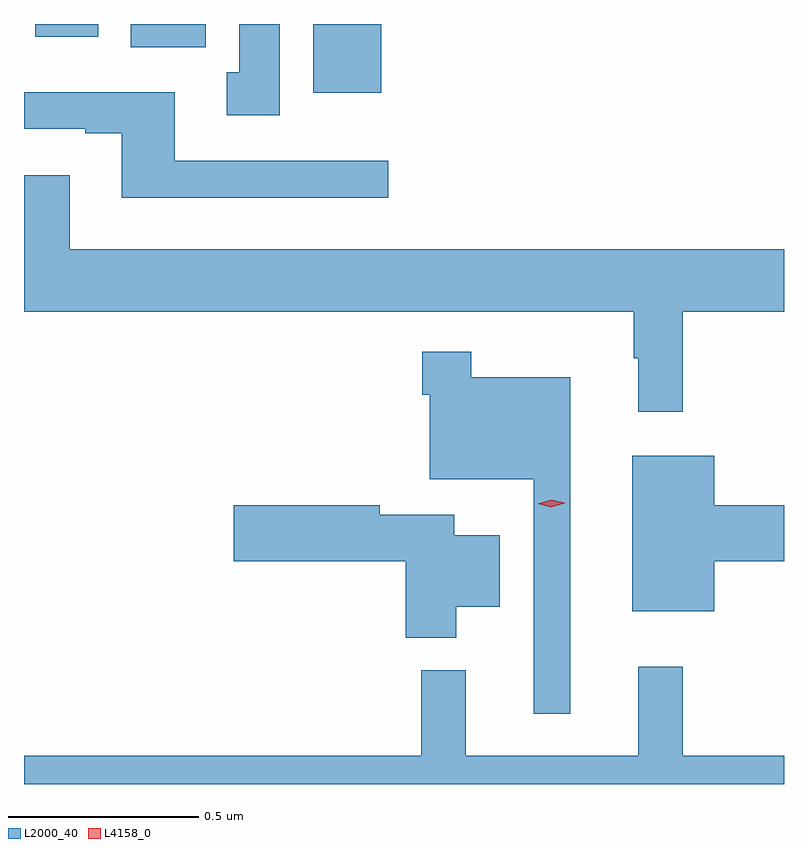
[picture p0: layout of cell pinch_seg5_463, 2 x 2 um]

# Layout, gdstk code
import gdstk
lib = gdstk.Library(unit=1e-6, precision=1e-09)
def R(c, l, rs):  # rectangles x0, y0, x1, y1
    for r in rs: c.add(gdstk.rectangle(r[:2], r[2:], *l))
def P(c, l, *ps):  # polygons
    for p in ps: c.add(gdstk.Polygon(p, *l))
L2000_40 = (2000, 40)
L4158_0 = (4158, 0)

pinch_seg5_463 = lib.new_cell('pinch_seg5_463')
R(pinch_seg5_463, L2000_40, [(923.009,858.668,923.188,858.849), (922.529,858.788,922.726,858.849), (922.277,858.816,922.444,858.849)])
P(pinch_seg5_463, L2000_40, [(922.921,858.849),(922.814,858.849),(922.814,858.722),(922.781,858.722),(922.781,858.609),(922.921,858.609)],
  [(923.206,858.489),(922.645,858.489),(922.645,858.67),(922.248,858.67),(922.248,858.573),(922.409,858.573),(922.409,858.561),(922.505,858.561),(922.505,858.392),(923.206,858.392)],
  [(923.981,858.092),(924.248,858.092),(924.248,858.256),(922.369,858.256),(922.369,858.451),(922.248,858.451),(922.248,858.092),(923.853,858.092),(923.853,857.969),(923.864,857.969),(923.864,857.829),(923.981,857.829)],
  [(923.686,857.92),(923.425,857.92),(923.425,857.986),(923.296,857.986),(923.296,857.873),(923.316,857.873),(923.316,857.651),(923.589,857.651),(923.589,857.034),(923.686,857.034)],
  [(924.064,857.435),(924.248,857.435),(924.248,857.582),(924.064,857.582),(924.064,857.713),(923.849,857.713),(923.849,857.303),(924.064,857.303)],
  [(923.386,857.315),(923.5,857.315),(923.5,857.503),(923.38,857.503),(923.38,857.557),(923.184,857.557),(923.184,857.582),(922.8,857.582),(922.8,857.435),(923.252,857.435),(923.252,857.234),(923.386,857.234)],
  [(924.248,856.924),(923.981,856.924),(923.981,857.158),(923.864,857.158),(923.864,856.924),(923.411,856.924),(923.411,857.149),(923.293,857.149),(923.293,856.924),(922.248,856.924),(922.248,856.849),(924.248,856.849)])
P(pinch_seg5_463, L4158_0, [(923.636,857.577),(923.6,857.586),(923.599,857.586),(923.6,857.586),(923.635,857.597),(923.671,857.589),(923.671,857.589),(923.671,857.588)])

lib.write_gds('pinch_seg5_463.gds')
